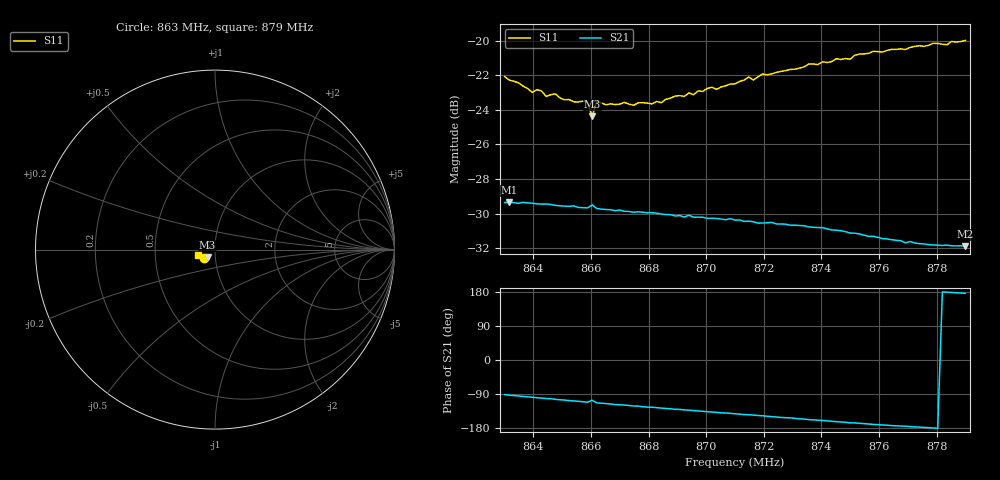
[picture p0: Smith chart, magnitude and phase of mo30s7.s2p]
# HZ S RI R 50
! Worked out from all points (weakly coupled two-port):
!   101 points, 863 MHz to 879 MHz, reference 50 ohm
!   highest |S21| = -29.35 dB at 863.16 MHz (marker M1); lowest = -31.9 dB at 879 MHz (marker M2)
!   lowest |S11| = -24.4 dB at 866.04 MHz (marker M3), VSWR 1.13, Z = 45.8 - j4.03 ohm
!   |S11| at or under -10 dB: start of sweep to end of sweep
!   S12 and S22 are empty: the file has one direction only
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8.63e8  -0.0626 -0.0476  -0.000766 -0.034  0 0  0 0
8.6316e8  -0.0608 -0.047  -0.00159 -0.0341  0 0  0 0
8.6396e8  -0.0564 -0.0429  -0.00492 -0.0335  0 0  0 0
8.6412e8  -0.0559 -0.0456  -0.0056 -0.0333  0 0  0 0
8.6444e8  -0.0531 -0.0441  -0.00684 -0.033  0 0  0 0
8.6476e8  -0.0544 -0.0443  -0.00795 -0.0324  0 0  0 0
8.6508e8  -0.0509 -0.0443  -0.00902 -0.032  0 0  0 0
8.6572e8  -0.0498 -0.0446  -0.0114 -0.0309  0 0  0 0
8.6588e8  -0.049 -0.0445  -0.0119 -0.0306  0 0  0 0
8.6604e8  -0.0416 -0.0438  -0.00954 -0.0321  0 0  0 0
8.662e8  -0.0487 -0.0454  -0.0128 -0.0301  0 0  0 0
8.6748e8  -0.0447 -0.0472  -0.0166 -0.0272  0 0  0 0
8.6844e8  -0.0451 -0.0484  -0.0189 -0.0252  0 0  0 0
8.6892e8  -0.0469 -0.0508  -0.0201 -0.0238  0 0  0 0
8.6956e8  -0.0471 -0.0514  -0.0212 -0.0224  0 0  0 0
8.71e8  -0.0521 -0.0539  -0.0238 -0.0187  0 0  0 0
8.7148e8  -0.0543 -0.0567  -0.0245 -0.0174  0 0  0 0
8.7164e8  -0.0536 -0.0551  -0.0246 -0.017  0 0  0 0
8.7196e8  -0.058 -0.0552  -0.0249 -0.0161  0 0  0 0
8.7372e8  -0.0651 -0.0554  -0.0268 -0.0108  0 0  0 0
8.7644e8  -0.0827 -0.0454  -0.0264 -0.00318  0 0  0 0
8.79e8  -0.0961 -0.0277  -0.0254 0.00182  0 0  0 0
